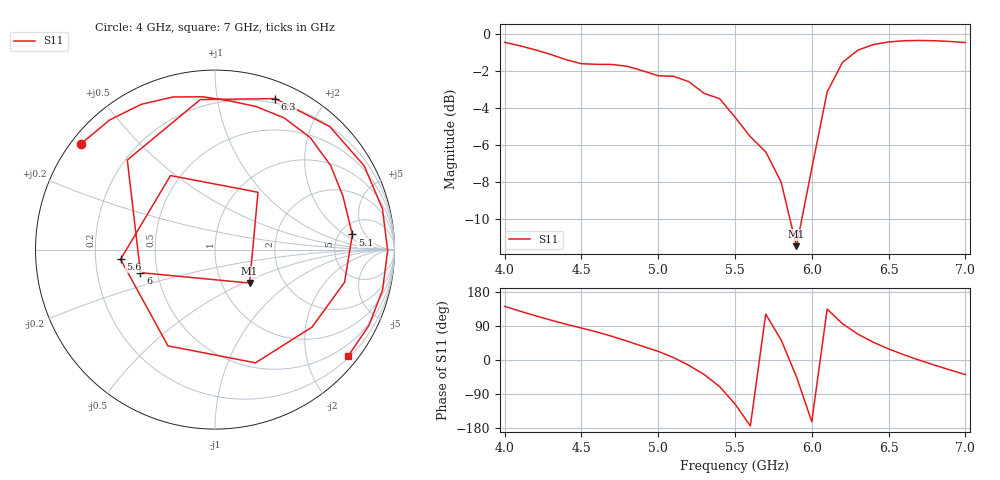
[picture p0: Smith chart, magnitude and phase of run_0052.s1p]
! Touchstone file exported from HFSS 2024.2.0
!  File:  C:/Users/wsak9/Desktop/Sim Fast/Widenad Patch/WP_AI_V1_sweep.aedt
!  Generated:  05:05:05 PM Oct 13, 2026
!  Design:  A1_model
!  Project:  WP_AI_V1_sweep
!  Setup:  Setup1
!  Solution:  Sweep
! Variables:
!  Air_gap = 2.39mm
!  Curve_Amp1 = 2.24
!  Curve_len1 = 1
!  Curve_pos = 10.385mm
!  Extra = 6.16mm
!  H_sub = 0.79mm
!  L_Patch = 16.77mm
!  L_Patch1 = 21.05mm
!  Sx = 2.03mm
!  Sy = 4.14mm
!  WS = 0.53mm
!  W_Patch = 22.57mm
!  W_Patch1 = 14.89mm
!Data is not renormalized
# GHz S MA
! Terminal data exported
! Port[1] = 1
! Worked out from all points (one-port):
!   31 points, 4 GHz to 7 GHz, reference per port
!   lowest |S11| = -11.4 dB at 5.9 GHz (marker M1), VSWR 1.73
!   |S11| at or under -10 dB: 5.858 GHz to 5.934 GHz (75.88 MHz wide, 1.29 % of centre)
!   S11 on the Smith chart (normalised r, x): 4 GHz: 0.03, +0.35; 5.1 GHz: 6.55, +2.71; 5.6 GHz: 0.31, -0.05; 6 GHz: 0.40, -0.13; 6.3 GHz: 0.16, +1.46; 7 GHz: 0.24, -2.84
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4  0.9509 141.6
4.1  0.9305 129.0
4.2  0.9076 116.9
4.4  0.8538 94.4
4.6  0.8293 74.0
4.7  0.8286 62.3
4.8  0.8191 49.5
4.9  0.7964 35.9
5  0.7725 22.8
5.1  0.77 6.3
5.2  0.7444 -14.2
5.3  0.692 -38.6
5.4  0.6701 -70.3
5.5  0.597 -116.0
5.6  0.5289 -174.1
5.7  0.4814 121.0
5.8  0.3993 53.1
5.9  0.2679 -44.0
6  0.4346 -162.8
6.1  0.6986 134.4
6.2  0.8399 95.6
6.3  0.9057 68.2
6.4  0.9375 47.0
6.5  0.9532 29.3
6.6  0.9602 13.7
6.7  0.9621 -0.4
6.8  0.9603 -13.6
7  0.9496 -38.5
